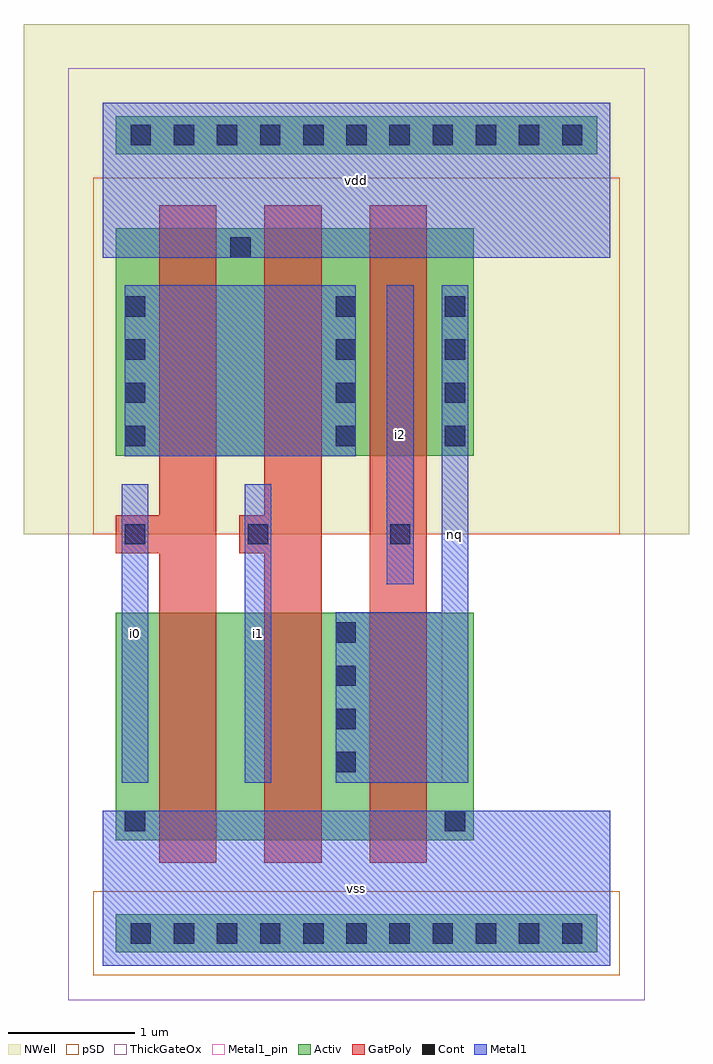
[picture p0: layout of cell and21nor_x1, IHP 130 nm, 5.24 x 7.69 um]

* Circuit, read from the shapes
.subckt and21nor_x1 i0 i1 i2 nq vdd vss
XM1 n1 i0 vss vss sg13_hv_nmos w=1.79u l=0.45u
XM2 nq i1 n1 vss sg13_hv_nmos w=1.79u l=0.45u
XM3 vss i2 nq vss sg13_hv_nmos w=1.79u l=0.45u
XM4 vdd i0 n2 vdd sg13_hv_pmos w=1.79u l=0.45u
XM5 n2 i1 vdd vdd sg13_hv_pmos w=1.79u l=0.45u
XM6 nq i2 n2 vdd sg13_hv_pmos w=1.79u l=0.45u
.ends

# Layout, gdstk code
import gdstk
lib = gdstk.Library(unit=1e-6, precision=1e-09)
def R(c, l, rs):  # rectangles x0, y0, x1, y1
    for r in rs: c.add(gdstk.rectangle(r[:2], r[2:], *l))
def A(c, l, x, y, w, h, nx, ny, dx, dy):  # array of equal rectangles
    R(c, l, [(x+i*dx, y+j*dy, x+i*dx+w, y+j*dy+h) for i in range(nx) for j in range(ny)])
def P(c, l, *ps):  # polygons
    for p in ps: c.add(gdstk.Polygon(p, *l))
Activ = (1, 0)
GatPoly = (5, 0)
Cont = (6, 0)
Metal1 = (8, 0)
Metal1_pin = (8, 2)
pSD = (14, 0)
NWell = (31, 0)
ThickGateOx = (44, 0)

and21nor_x1 = lib.new_cell('and21nor_x1')
R(and21nor_x1, Activ, [(0.105,0.105,3.895,0.405), (0.105,0.99,2.925,2.78), (0.105,4.02,2.925,5.81), (0.105,6.395,3.895,6.695)])
R(and21nor_x1, GatPoly, [(2.105,0.81,2.555,5.99)])
P(and21nor_x1, GatPoly, [(0.445,0.81),(0.445,3.25),(0.105,3.25),(0.105,3.55),(0.445,3.55),(0.445,5.99),(0.895,5.99),(0.895,0.81)],
  [(1.275,0.81),(1.275,3.25),(1.075,3.25),(1.075,3.55),(1.275,3.55),(1.275,5.99),(1.725,5.99),(1.725,0.81)])
A(and21nor_x1, Cont, 0.22, 0.175, 0.16, 0.16, 11, 2, 0.34, 6.29)
A(and21nor_x1, Cont, 1.835, 1.525, 0.16, 0.16, 1, 4, 0, 0.34)
A(and21nor_x1, Cont, 0.175, 4.095, 0.16, 0.16, 1, 4, 0, 0.34)
A(and21nor_x1, Cont, 1.835, 4.095, 0.16, 0.16, 1, 4, 0, 0.34)
A(and21nor_x1, Cont, 2.695, 4.095, 0.16, 0.16, 1, 4, 0, 0.34)
R(and21nor_x1, Cont, [(0.175,1.06,0.335,1.22), (2.695,1.06,2.855,1.22), (0.175,3.32,0.335,3.48), (1.145,3.32,1.305,3.48), (2.265,3.32,2.425,3.48), (1.005,5.58,1.165,5.74)])
R(and21nor_x1, Metal1, [(0,0,4,1.22), (0.15,1.44,0.36,3.795), (1.12,1.44,1.33,3.795), (2.24,3.005,2.45,5.36), (0.175,4.015,1.995,5.36), (0,5.58,4,6.8)])
P(and21nor_x1, Metal1, [(1.835,1.44),(1.835,2.785),(2.67,2.785),(2.67,5.36),(2.88,5.36),(2.88,1.44)])
R(and21nor_x1, Metal1_pin, [(0,0,4,1.22), (0.15,1.44,0.36,3.795), (1.12,1.44,1.33,3.795), (2.67,1.44,2.88,5.36), (2.24,3.005,2.45,5.36), (0,5.58,4,6.8)])
R(and21nor_x1, pSD, [(-0.075,-0.075,4.075,0.585), (-0.075,3.4,4.075,6.21)])
R(and21nor_x1, NWell, [(-0.62,3.4,4.62,7.42)])
R(and21nor_x1, ThickGateOx, [(-0.27,-0.27,4.27,7.07)])
and21nor_x1.add(gdstk.Label('vss', (2,0.61), layer=8, texttype=2))
and21nor_x1.add(gdstk.Label('vdd', (2,6.19), layer=8, texttype=2))
and21nor_x1.add(gdstk.Label('i0', (0.255,2.618), layer=8, texttype=2))
and21nor_x1.add(gdstk.Label('nq', (2.775,3.4), layer=8, texttype=2))
and21nor_x1.add(gdstk.Label('i1', (1.225,2.618), layer=8, texttype=2))
and21nor_x1.add(gdstk.Label('i2', (2.345,4.183), layer=8, texttype=2))

lib.write_gds('and21nor_x1.gds')
